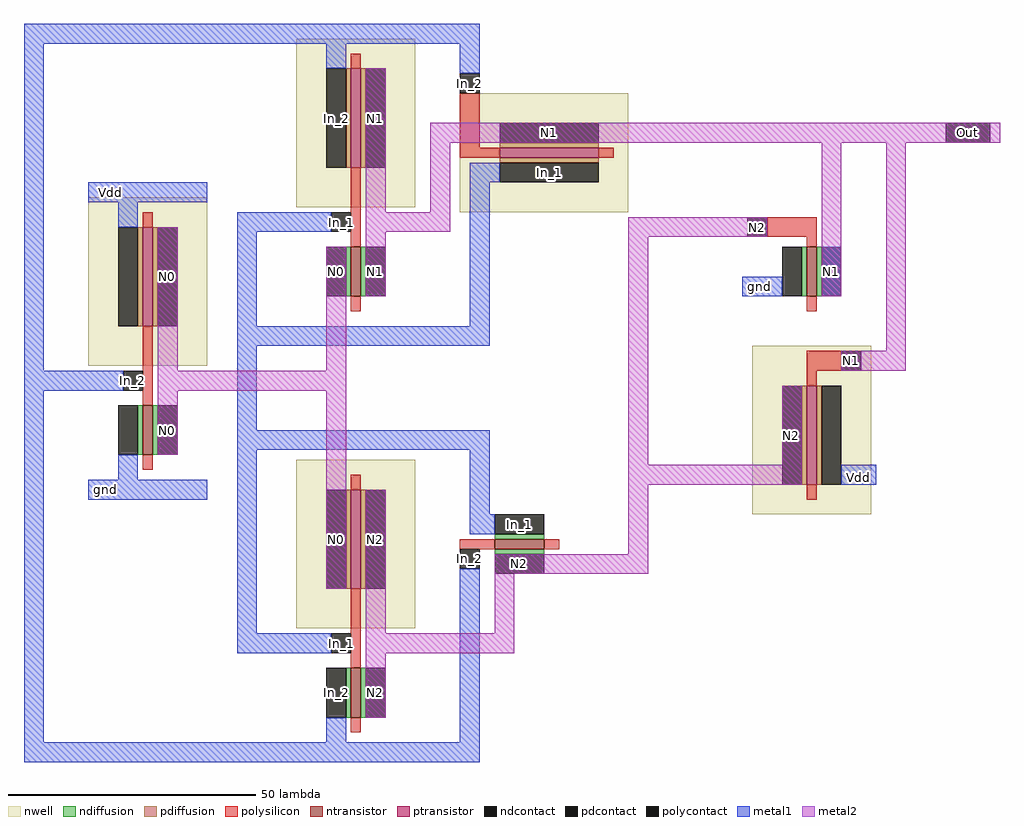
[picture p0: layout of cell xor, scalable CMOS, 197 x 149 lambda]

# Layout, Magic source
magic
tech scmos
<< nwell >>
rect -30 -13 -6 21
rect 12 19 36 53
rect 45 18 79 42
rect 12 -66 36 -32
rect 104 -43 128 -9
<< ntransistor >>
rect 23 1 25 11
rect 115 1 117 11
rect -19 -31 -17 -21
rect 52 -50 62 -48
rect 23 -84 25 -74
<< ptransistor >>
rect 23 27 25 47
rect 53 29 73 31
rect -19 -5 -17 15
rect 115 -37 117 -17
rect 23 -58 25 -38
<< ndiffusion >>
rect 22 1 23 11
rect 25 1 26 11
rect 114 1 115 11
rect 117 1 118 11
rect -20 -31 -19 -21
rect -17 -31 -16 -21
rect 52 -48 62 -47
rect 52 -51 62 -50
rect 22 -84 23 -74
rect 25 -84 26 -74
<< pdiffusion >>
rect 22 27 23 47
rect 25 27 26 47
rect 53 31 73 32
rect 53 28 73 29
rect -20 -5 -19 15
rect -17 -5 -16 15
rect 114 -37 115 -17
rect 117 -37 118 -17
rect 22 -58 23 -38
rect 25 -58 26 -38
<< ndcontact >>
rect 18 1 22 11
rect 26 1 30 11
rect 110 1 114 11
rect 118 1 122 11
rect -24 -31 -20 -21
rect -16 -31 -12 -21
rect 52 -47 62 -43
rect 52 -55 62 -51
rect 18 -84 22 -74
rect 26 -84 30 -74
<< pdcontact >>
rect 18 27 22 47
rect 26 27 30 47
rect 53 32 73 36
rect -24 -5 -20 15
rect -16 -5 -12 15
rect 53 24 73 28
rect 110 -37 114 -17
rect 118 -37 122 -17
rect 18 -58 22 -38
rect 26 -58 30 -38
<< polysilicon >>
rect 23 47 25 50
rect 45 31 49 42
rect 45 29 53 31
rect 73 29 76 31
rect -19 15 -17 18
rect 23 11 25 27
rect 107 13 117 17
rect 115 11 117 13
rect 23 -2 25 1
rect 115 -2 117 1
rect -19 -21 -17 -5
rect 115 -14 122 -10
rect 115 -17 117 -14
rect -19 -34 -17 -31
rect 23 -38 25 -35
rect 115 -40 117 -37
rect 45 -50 52 -48
rect 62 -50 65 -48
rect 23 -74 25 -58
rect 23 -87 25 -84
<< polycontact >>
rect 45 42 49 46
rect 143 32 152 36
rect 19 14 23 18
rect 103 13 107 17
rect -23 -18 -19 -14
rect 122 -14 126 -10
rect 45 -54 49 -50
rect 19 -71 23 -67
<< metal1 >>
rect -43 52 49 56
rect -43 -14 -39 52
rect 18 47 22 52
rect 45 46 49 52
rect 47 24 53 28
rect -30 20 -6 24
rect -24 15 -20 20
rect 0 14 19 18
rect 0 -5 4 14
rect 47 -5 51 24
rect 102 1 110 5
rect 118 1 122 11
rect 0 -9 51 -5
rect -43 -18 -23 -14
rect -43 -89 -39 -18
rect 0 -26 4 -9
rect 0 -30 51 -26
rect -24 -36 -20 -31
rect -30 -40 -6 -36
rect 0 -67 4 -30
rect 47 -43 51 -30
rect 122 -37 129 -33
rect 47 -47 52 -43
rect 0 -71 19 -67
rect 18 -89 22 -84
rect 45 -89 49 -54
rect -43 -93 49 -89
<< metal2 >>
rect 26 18 30 47
rect 39 32 154 36
rect 39 18 43 32
rect -16 -14 -12 15
rect 26 14 43 18
rect 18 -14 22 11
rect 26 1 30 14
rect 79 13 107 17
rect -16 -18 22 -14
rect -16 -31 -12 -18
rect 18 -58 22 -18
rect 79 -33 83 13
rect 118 1 122 32
rect 131 -10 135 32
rect 122 -14 135 -10
rect 110 -33 114 -17
rect 79 -37 114 -33
rect 26 -67 30 -38
rect 79 -51 83 -37
rect 52 -55 83 -51
rect 52 -67 56 -55
rect 26 -71 56 -67
rect 26 -84 30 -71
<< labels >>
rlabel metal1 -30 20 -21 24 1 Vdd
rlabel space 122 -38 129 -33 1 Vdd
rlabel metal1 -30 -40 -23 -36 1 gnd
rlabel metal1 102 1 109 5 1 gnd
rlabel polycontact -23 -18 -19 -14 1 In_2
rlabel polycontact 45 42 49 46 1 In_2
rlabel pdcontact 18 27 22 47 1 In_2
rlabel ndcontact 18 -84 22 -74 1 In_2
rlabel polycontact 45 -54 49 -50 1 In_2
rlabel polycontact 19 14 23 18 1 In_1
rlabel polycontact 19 -71 23 -67 1 In_1
rlabel pdcontact 53 24 73 28 1 In_1
rlabel ndcontact 52 -47 62 -43 1 In_1
rlabel metal2 26 1 30 11 1 N1
rlabel metal2 26 27 30 47 1 N1
rlabel metal2 53 32 73 36 1 N1
rlabel metal2 26 -58 30 -38 1 N2
rlabel metal2 52 -55 62 -51 1 N2
rlabel metal2 26 -84 30 -74 1 N2
rlabel metal2 110 -37 114 -17 1 N2
rlabel metal2 103 13 107 17 1 N2
rlabel metal2 122 -14 126 -10 1 N1
rlabel metal2 118 1 122 11 1 N1
rlabel metal2 143 32 152 36 1 Out
rlabel metal2 -16 -31 -12 -21 1 N0
rlabel metal2 18 1 22 11 1 N0
rlabel metal2 -16 -5 -12 15 1 N0
rlabel metal2 18 -58 22 -38 1 N0
<< end >>
